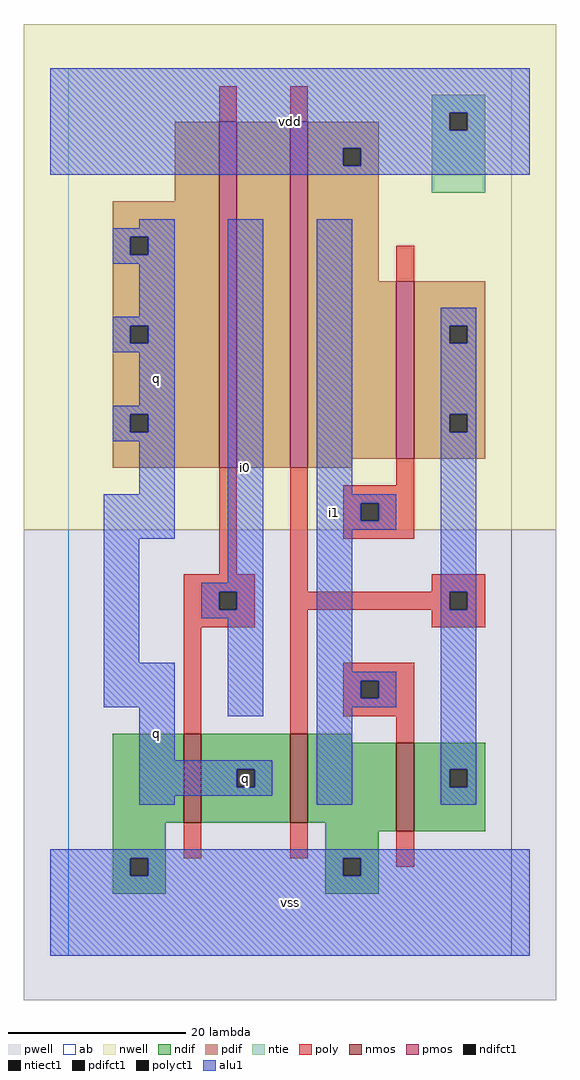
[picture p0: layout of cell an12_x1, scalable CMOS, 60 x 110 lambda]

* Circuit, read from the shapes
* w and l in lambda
.subckt an12_x1 i0 i1 q vdd vss
M1 q i0 vss VSUBS nfet w=10 l=2
M2 vss n1 q VSUBS nfet w=10 l=2
M3 n1 i1 vss VSUBS nfet w=10 l=2
M4 n2 i0 q vdd pfet w=39 l=2
M5 vdd n1 n2 vdd pfet w=39 l=2
M6 n1 i1 vdd vdd pfet w=20 l=2
.ends

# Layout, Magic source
magic
tech scmos
<< ab >>
rect 0 0 50 100
<< nwell >>
rect -5 48 55 105
<< pwell >>
rect -5 -5 55 48
<< poly >>
rect 17 94 19 98
rect 25 94 27 98
rect 37 76 39 80
rect 17 43 19 55
rect 13 41 21 43
rect 13 39 17 41
rect 19 39 21 41
rect 13 37 21 39
rect 25 41 27 55
rect 37 53 39 56
rect 31 51 39 53
rect 31 49 33 51
rect 35 49 39 51
rect 31 47 39 49
rect 41 41 47 43
rect 25 39 43 41
rect 45 39 47 41
rect 13 25 15 37
rect 25 25 27 39
rect 41 37 47 39
rect 31 31 39 33
rect 31 29 33 31
rect 35 29 39 31
rect 31 27 39 29
rect 37 24 39 27
rect 13 11 15 15
rect 25 11 27 15
rect 37 10 39 14
<< ndif >>
rect 5 15 13 25
rect 15 21 25 25
rect 15 19 19 21
rect 21 19 25 21
rect 15 15 25 19
rect 27 24 32 25
rect 27 15 37 24
rect 5 11 11 15
rect 29 14 37 15
rect 39 21 47 24
rect 39 19 43 21
rect 45 19 47 21
rect 39 14 47 19
rect 29 11 35 14
rect 5 9 7 11
rect 9 9 11 11
rect 5 7 11 9
rect 29 9 31 11
rect 33 9 35 11
rect 29 7 35 9
<< pdif >>
rect 12 85 17 94
rect 5 81 17 85
rect 5 79 7 81
rect 9 79 17 81
rect 5 71 17 79
rect 5 69 7 71
rect 9 69 17 71
rect 5 61 17 69
rect 5 59 7 61
rect 9 59 17 61
rect 5 55 17 59
rect 19 55 25 94
rect 27 91 35 94
rect 27 89 31 91
rect 33 89 35 91
rect 27 76 35 89
rect 27 56 37 76
rect 39 71 47 76
rect 39 69 43 71
rect 45 69 47 71
rect 39 61 47 69
rect 39 59 43 61
rect 45 59 47 61
rect 39 56 47 59
rect 27 55 32 56
<< alu1 >>
rect -2 95 52 100
rect -2 93 43 95
rect 45 93 52 95
rect -2 91 52 93
rect -2 89 31 91
rect 33 89 52 91
rect -2 88 52 89
rect 8 82 12 83
rect 5 81 12 82
rect 5 79 7 81
rect 9 79 12 81
rect 5 78 12 79
rect 8 72 12 78
rect 5 71 12 72
rect 5 69 7 71
rect 9 69 12 71
rect 5 68 12 69
rect 8 62 12 68
rect 5 61 12 62
rect 5 59 7 61
rect 9 59 12 61
rect 5 58 12 59
rect 8 52 12 58
rect 4 47 12 52
rect 4 33 8 47
rect 18 42 22 83
rect 15 41 22 42
rect 15 39 17 41
rect 19 39 22 41
rect 15 38 22 39
rect 4 28 12 33
rect 8 22 12 28
rect 18 27 22 38
rect 28 52 32 83
rect 42 71 46 73
rect 42 69 43 71
rect 45 69 46 71
rect 42 61 46 69
rect 42 59 43 61
rect 45 59 46 61
rect 28 51 37 52
rect 28 49 33 51
rect 35 49 37 51
rect 28 48 37 49
rect 28 32 32 48
rect 42 41 46 59
rect 42 39 43 41
rect 45 39 46 41
rect 28 31 37 32
rect 28 29 33 31
rect 35 29 37 31
rect 28 28 37 29
rect 8 21 23 22
rect 8 19 19 21
rect 21 19 23 21
rect 8 18 23 19
rect 8 17 12 18
rect 28 17 32 28
rect 42 21 46 39
rect 42 19 43 21
rect 45 19 46 21
rect 42 17 46 19
rect -2 11 52 12
rect -2 9 7 11
rect 9 9 31 11
rect 33 9 52 11
rect -2 0 52 9
<< ntie >>
rect 41 95 47 97
rect 41 93 43 95
rect 45 93 47 95
rect 41 86 47 93
<< nmos >>
rect 13 15 15 25
rect 25 15 27 25
rect 37 14 39 24
<< pmos >>
rect 17 55 19 94
rect 25 55 27 94
rect 37 56 39 76
<< polyct1 >>
rect 17 39 19 41
rect 33 49 35 51
rect 43 39 45 41
rect 33 29 35 31
<< ndifct1 >>
rect 19 19 21 21
rect 43 19 45 21
rect 7 9 9 11
rect 31 9 33 11
<< ntiect1 >>
rect 43 93 45 95
<< pdifct1 >>
rect 7 79 9 81
rect 7 69 9 71
rect 7 59 9 61
rect 31 89 33 91
rect 43 69 45 71
rect 43 59 45 61
<< labels >>
rlabel ndifct1 20 20 20 20 6 q
rlabel alu1 10 25 10 25 6 q
rlabel alu1 10 65 10 65 6 q
rlabel alu1 20 55 20 55 6 i0
rlabel alu1 25 6 25 6 6 vss
rlabel alu1 30 50 30 50 6 i1
rlabel alu1 25 94 25 94 6 vdd
<< end >>
